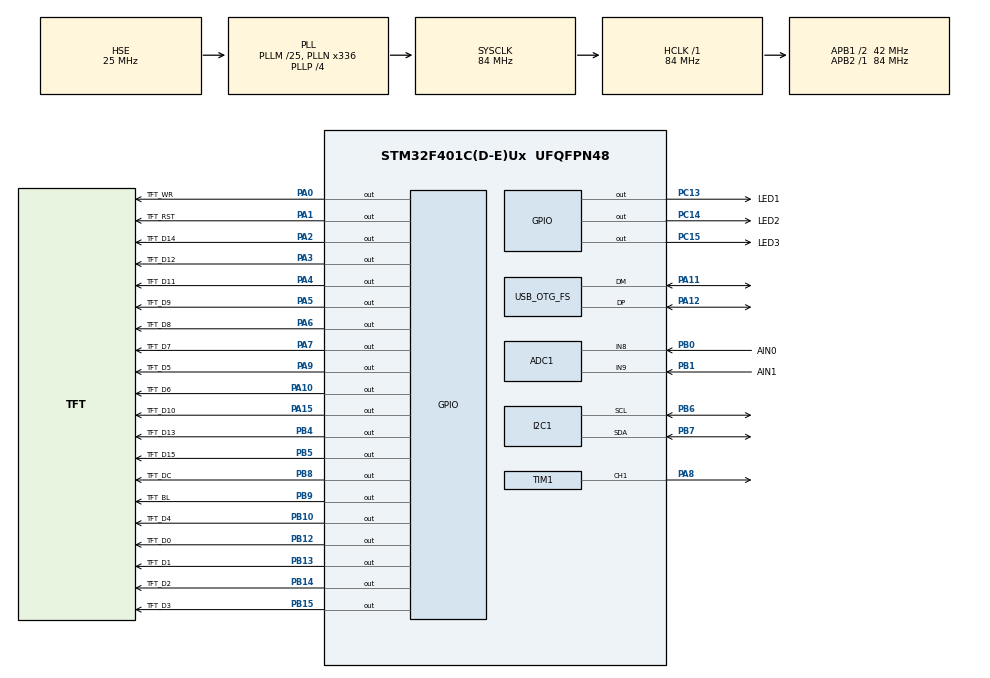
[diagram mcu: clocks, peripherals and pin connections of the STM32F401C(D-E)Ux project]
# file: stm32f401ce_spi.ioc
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ADC1.Channel-0\#ChannelRegularConversion=ADC_CHANNEL_8
ADC1.Channel-1\#ChannelRegularConversion=ADC_CHANNEL_9
ADC1.DMAContinuousRequests=ENABLE
ADC1.EOCSelection=ADC_EOC_SEQ_CONV
ADC1.ExternalTrigConv=ADC_EXTERNALTRIGCONV_T1_CC1
ADC1.NbrOfConversion=2
ADC1.NbrOfConversionFlag=1
ADC1.Rank-0\#ChannelRegularConversion=1
ADC1.Rank-1\#ChannelRegularConversion=2
ADC1.SamplingTime-0\#ChannelRegularConversion=ADC_SAMPLETIME_3CYCLES
ADC1.SamplingTime-1\#ChannelRegularConversion=ADC_SAMPLETIME_3CYCLES
ADC1.master=1
Dma.ADC1.0.Direction=DMA_PERIPH_TO_MEMORY
Dma.ADC1.0.FIFOMode=DMA_FIFOMODE_ENABLE
Dma.ADC1.0.FIFOThreshold=DMA_FIFO_THRESHOLD_HALFFULL
Dma.ADC1.0.Instance=DMA2_Stream0
Dma.ADC1.0.MemBurst=DMA_MBURST_SINGLE
Dma.ADC1.0.MemDataAlignment=DMA_MDATAALIGN_HALFWORD
Dma.ADC1.0.MemInc=DMA_MINC_ENABLE
Dma.ADC1.0.Mode=DMA_CIRCULAR
Dma.ADC1.0.PeriphBurst=DMA_PBURST_SINGLE
Dma.ADC1.0.PeriphDataAlignment=DMA_PDATAALIGN_HALFWORD
Dma.ADC1.0.PeriphInc=DMA_PINC_DISABLE
Dma.ADC1.0.Priority=DMA_PRIORITY_LOW
Dma.Request0=ADC1
Mcu.Family=STM32F4
Mcu.Name=STM32F401C(D-E)Ux
Mcu.Package=UFQFPN48
NVIC.DMA2_Stream0_IRQn=true\:0\:0\:false\:false\:true\:false\:true
NVIC.OTG_FS_IRQn=true\:0\:0\:false\:false\:true\:false\:true
NVIC.PriorityGroup=NVIC_PRIORITYGROUP_4
PA0-WKUP.GPIO_Label=TFT_WR
PA0-WKUP.GPIO_Speed=GPIO_SPEED_FREQ_VERY_HIGH
PA0-WKUP.Signal=GPIO_Output
PA1.GPIO_Label=TFT_RST
PA1.GPIO_Speed=GPIO_SPEED_FREQ_VERY_HIGH
PA1.Signal=GPIO_Output
PA10.GPIO_Label=TFT_D6
PA10.Signal=GPIO_Output
PA11.Mode=Device_Only
PA11.Signal=USB_OTG_FS_DM
PA12.Mode=Device_Only
PA12.Signal=USB_OTG_FS_DP
PA13.Mode=Trace_Asynchronous_SW
PA13.Signal=SYS_JTMS-SWDIO
PA14.Mode=Trace_Asynchronous_SW
PA14.Signal=SYS_JTCK-SWCLK
PA15.GPIO_Label=TFT_D10               
PA15.GPIO_Speed=GPIO_SPEED_FREQ_VERY_HIGH
PA15.Signal=GPIO_Output
PA2.GPIO_Label=TFT_D14
PA2.GPIO_Speed=GPIO_SPEED_FREQ_VERY_HIGH
PA2.Signal=GPIO_Output
PA3.GPIO_Label=TFT_D12
PA3.GPIO_Speed=GPIO_SPEED_FREQ_VERY_HIGH
PA3.Signal=GPIO_Output
PA4.GPIO_Label=TFT_D11
PA4.GPIO_Speed=GPIO_SPEED_FREQ_VERY_HIGH
PA4.Signal=GPIO_Output
PA5.GPIO_Label=TFT_D9
PA5.GPIO_Speed=GPIO_SPEED_FREQ_VERY_HIGH
PA5.Signal=GPIO_Output
PA6.GPIO_Label=TFT_D8
PA6.GPIO_Speed=GPIO_SPEED_FREQ_VERY_HIGH
PA6.Signal=GPIO_Output
PA7.GPIO_Label=TFT_D7
PA7.GPIO_Speed=GPIO_SPEED_FREQ_VERY_HIGH
PA7.Signal=GPIO_Output
PA8.Signal=S_TIM1_CH1
PA9.GPIO_Label=TFT_D5
PA9.GPIO_Speed=GPIO_SPEED_FREQ_VERY_HIGH
PA9.Signal=GPIO_Output
PB0.GPIO_Label=AIN0
PB0.Signal=ADCx_IN8
PB1.GPIO_Label=AIN1
PB1.Signal=ADCx_IN9
PB10.GPIO_Label=TFT_D4
PB10.GPIO_Speed=GPIO_SPEED_FREQ_VERY_HIGH
PB10.Signal=GPIO_Output
PB12.GPIO_Label=TFT_D0
PB12.GPIO_Speed=GPIO_SPEED_FREQ_VERY_HIGH
PB12.Signal=GPIO_Output
PB13.GPIO_Label=TFT_D1
PB13.GPIO_Speed=GPIO_SPEED_FREQ_VERY_HIGH
PB13.Signal=GPIO_Output
PB14.GPIO_Label=TFT_D2
PB14.GPIO_Speed=GPIO_SPEED_FREQ_VERY_HIGH
PB14.Signal=GPIO_Output
PB15.GPIO_Label=TFT_D3
PB15.GPIO_Speed=GPIO_SPEED_FREQ_VERY_HIGH
PB15.Signal=GPIO_Output
PB3.Mode=Trace_Asynchronous_SW
PB3.Signal=SYS_JTDO-SWO
PB4.GPIO_Label=TFT_D13
PB4.GPIO_Speed=GPIO_SPEED_FREQ_VERY_HIGH
PB4.PinState=GPIO_PIN_RESET
PB4.Signal=GPIO_Output
PB5.GPIO_Label=TFT_D15
PB5.GPIO_Speed=GPIO_SPEED_FREQ_VERY_HIGH
PB5.Signal=GPIO_Output
PB6.Mode=I2C
PB6.Signal=I2C1_SCL
PB7.Mode=I2C
PB7.Signal=I2C1_SDA
PB8.GPIO_Label=TFT_DC
PB8.GPIO_Speed=GPIO_SPEED_FREQ_VERY_HIGH
PB8.Signal=GPIO_Output
PB9.GPIO_Label=TFT_BL
PB9.GPIO_Speed=GPIO_SPEED_FREQ_VERY_HIGH
PB9.Signal=GPIO_Output
PC13-ANTI_TAMP.GPIO_Label=LED1
PC13-ANTI_TAMP.Signal=GPIO_Output
PC14-OSC32_IN.GPIO_Label=LED2
PC14-OSC32_IN.Signal=GPIO_Output
PC15-OSC32_OUT.GPIO_Label=LED3
PC15-OSC32_OUT.Signal=GPIO_Output
PH0\ -\ OSC_IN.Mode=HSE-External-Oscillator
PH0\ -\ OSC_IN.Signal=RCC_OSC_IN
PH1\ -\ OSC_OUT.Mode=HSE-External-Oscillator
PH1\ -\ OSC_OUT.Signal=RCC_OSC_OUT
ProjectManager.HeapSize=0x200
ProjectManager.StackSize=0x400
ProjectManager.TargetToolchain=STM32CubeIDE
RCC.48MHZClocksFreq_Value=48000000
RCC.AHBFreq_Value=84000000
RCC.APB1CLKDivider=RCC_HCLK_DIV2
RCC.APB1Freq_Value=42000000
RCC.APB1TimFreq_Value=84000000
RCC.APB2Freq_Value=84000000
RCC.APB2TimFreq_Value=84000000
RCC.CortexFreq_Value=84000000
RCC.HCLKFreq_Value=84000000
RCC.HSE_VALUE=25000000
RCC.HSI_VALUE=16000000
RCC.LSE_VALUE=32768
RCC.PLLM=25
RCC.PLLN=336
RCC.PLLP=RCC_PLLP_DIV4
RCC.PLLQ=7
RCC.SYSCLKFreq_VALUE=84000000
RCC.SYSCLKSource=RCC_SYSCLKSOURCE_PLLCLK
RCC.VCOOutputFreq_Value=336000000
SH.ADCx_IN8.0=ADC1_IN8,IN8
SH.ADCx_IN9.0=ADC1_IN9,IN9
SH.S_TIM1_CH1.0=TIM1_CH1,PWM Generation1 CH1
TIM1.Channel-PWM\ Generation1\ CH1=TIM_CHANNEL_1
TIM1.Period=840-1
TIM1.Pulse-PWM\ Generation1\ CH1=84-1
TIM1.TIM_MasterOutputTrigger=TIM_TRGO_OC1
USB_DEVICE.CLASS_NAME_FS=CDC
USB_DEVICE.VirtualMode=Cdc
USB_DEVICE.VirtualMode-CDC_FS=Cdc
USB_DEVICE.VirtualModeFS=Cdc_FS
USB_OTG_FS.VirtualMode=Device_Only
VP_TIM1_VS_ClockSourceINT.Mode=Internal
VP_USB_DEVICE_VS_USB_DEVICE_CDC_FS.Mode=CDC_FS
board=custom

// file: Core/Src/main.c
/* USER CODE BEGIN Header */
/**
  ******************************************************************************
  * @file           : main.c
  * @brief          : Main program body
  ******************************************************************************
  * @attention
  *
  * <h2><center>&copy; Copyright (c) 2021 STMicroelectronics.
  * All rights reserved.</center></h2>
  *
  * This software component is licensed by ST under BSD 3-Clause license,
  * the "License"; You may not use this file except in compliance with the
  * License. You may obtain a copy of the License at:
  *                        opensource.org/licenses/BSD-3-Clause
  *
  ******************************************************************************
  */
/* USER CODE END Header */
#include "main.h"
#include "adc.h"
#include "dma.h"
#include "i2c.h"
#include "tim.h"
#include "usb_device.h"
#include "gpio.h"

/* USER CODE BEGIN Includes */
#include <stdio.h>
#include "usbd_cdc_if.h"

/* USER CODE END Includes */

/* USER CODE BEGIN PM */

#define kNumDma (8)
// The DMA is set for half word (16 bit) data size and memory increment.
// Adding two guard items.
static uint16_t dma_buffer[kNumDma+2];

static int counter1 = 0;
static int counter2 = 0;

static uint16_t val1;
static uint16_t val2;

void HAL_ADC_ErrorCallback(ADC_HandleTypeDef *hadc)
{
  /* Prevent unused argument(s) compilation warning */
  UNUSED(hadc);
	LED0_GPIO_Port->BSRR = LED1_Pin;
	for(;;);

  /* NOTE : This function Should not be modified, when the callback is needed,
            the HAL_ADC_ErrorCallback could be implemented in the user file
   */
}

void HAL_ADC_ConvCpltCallback(ADC_HandleTypeDef *hadc) {
	/* Prevent unused argument(s) compilation warning */
	LED1_GPIO_Port->BSRR = LED1_Pin;

	UNUSED(hadc);
	counter1++;
	val1 = dma_buffer[0];
	/* NOTE : This function should not be modified. When the callback is needed,
	 function HAL_ADC_ConvCpltCallback must be implemented in the user file.
	 */
	LED1_GPIO_Port->BSRR = (uint32_t) LED1_Pin << 16u;

}

/**
 * @brief  Conversion DMA half-transfer callback in non blocking mode
 * @param  hadc: ADC handle
 * @retval None
 */
void HAL_ADC_ConvHalfCpltCallback(ADC_HandleTypeDef *hadc) {
	/* Prevent unused argument(s) compilation warning */
	LED2_GPIO_Port->BSRR = LED2_Pin;

	counter2++;
	UNUSED(hadc);
	val2 = dma_buffer[kNumDma/2];

	LED2_GPIO_Port->BSRR = (uint32_t) LED2_Pin << 16u;

	/* NOTE : This function should not be modified. When the callback is needed,
	 function HAL_ADC_ConvHalfCpltCallback must be implemented in the user file.
	 */
}

/* USER CODE END PM */

void SystemClock_Config(void);

/* USER CODE BEGIN 0 */
// This enables printf via the USB
int _write(int file, char *ptr, int len) {
	// TODO: process returned value.
	CDC_Transmit_FS((uint8_t*) ptr, (uint16_t) len);
	return len;
}

/* USER CODE END 0 */

int main(void)
{

  /* MCU Configuration--------------------------------------------------------*/

  /* Reset of all peripherals, Initializes the Flash interface and the Systick. */
  HAL_Init();

  /* Configure the system clock */
  SystemClock_Config();

  /* Initialize all configured peripherals */
  MX_GPIO_Init();
  MX_DMA_Init();
  MX_ADC1_Init();
  MX_TIM1_Init();
  MX_USB_DEVICE_Init();
  MX_I2C1_Init();
  /* USER CODE BEGIN 2 */

  dma_buffer[0] = 1111;
  dma_buffer[kNumDma+1] = 9999;

  // NOTE: the DMA channel transfers 16 bit items but the API
  // requires a pointer cast to uint32_t*. The count is
  // the total count uint16_t data items in the buffer, which
  // divided into two halves, for interrupt processing.
  HAL_ADC_Start_DMA(&hadc1, (uint32_t*)&(dma_buffer[0+1]), kNumDma);

  	//HAL_TIM_PWM_Start(&htim1, TIM_CHANNEL_1);

	HAL_TIM_PWM_Start(&htim1, TIM_CHANNEL_1);

  int loops = 0;
  /* USER CODE END 2 */

  /* Infinite loop */
  while (1)
  {

    /* USER CODE BEGIN 3 */
  	HAL_Delay(300);

  	printf("\n%d, %d, %d\n", loops++, counter1, counter2);
  	HAL_Delay(100);

  	for (int i = 0; i < kNumDma + 2; i++) {
  		printf("%d  %4u\n", i,  dma_buffer[i]);
    	HAL_Delay(100);
  	}
  	HAL_Delay(50);
  		LED0_GPIO_Port->BSRR = LED0_Pin;
    	HAL_Delay(1000);
  		LED0_GPIO_Port->BSRR = (uint32_t) LED0_Pin << 16u;

  }
  /* USER CODE END 3 */
}

void SystemClock_Config(void)
{
  RCC_OscInitTypeDef RCC_OscInitStruct = {0};
  RCC_ClkInitTypeDef RCC_ClkInitStruct = {0};

  /** Configure the main internal regulator output voltage
  */
  __HAL_RCC_PWR_CLK_ENABLE();
  __HAL_PWR_VOLTAGESCALING_CONFIG(PWR_REGULATOR_VOLTAGE_SCALE2);
  /** Initializes the RCC Oscillators according to the specified parameters
  * in the RCC_OscInitTypeDef structure.
  */
  RCC_OscInitStruct.OscillatorType = RCC_OSCILLATORTYPE_HSE;
  RCC_OscInitStruct.HSEState = RCC_HSE_ON;
  RCC_OscInitStruct.PLL.PLLState = RCC_PLL_ON;
  RCC_OscInitStruct.PLL.PLLSource = RCC_PLLSOURCE_HSE;
  RCC_OscInitStruct.PLL.PLLM = 25;
  RCC_OscInitStruct.PLL.PLLN = 336;
  RCC_OscInitStruct.PLL.PLLP = RCC_PLLP_DIV4;
  RCC_OscInitStruct.PLL.PLLQ = 7;
  if (HAL_RCC_OscConfig(&RCC_OscInitStruct) != HAL_OK)
  {
    Error_Handler();
  }
  /** Initializes the CPU, AHB and APB buses clocks
  */
  RCC_ClkInitStruct.ClockType = RCC_CLOCKTYPE_HCLK|RCC_CLOCKTYPE_SYSCLK
                              |RCC_CLOCKTYPE_PCLK1|RCC_CLOCKTYPE_PCLK2;
  RCC_ClkInitStruct.SYSCLKSource = RCC_SYSCLKSOURCE_PLLCLK;
  RCC_ClkInitStruct.AHBCLKDivider = RCC_SYSCLK_DIV1;
  RCC_ClkInitStruct.APB1CLKDivider = RCC_HCLK_DIV2;
  RCC_ClkInitStruct.APB2CLKDivider = RCC_HCLK_DIV1;

  if (HAL_RCC_ClockConfig(&RCC_ClkInitStruct, FLASH_LATENCY_2) != HAL_OK)
  {
    Error_Handler();
  }
}

void Error_Handler(void)
{
}

/************************ (C) COPYRIGHT STMicroelectronics *****END OF FILE****/
